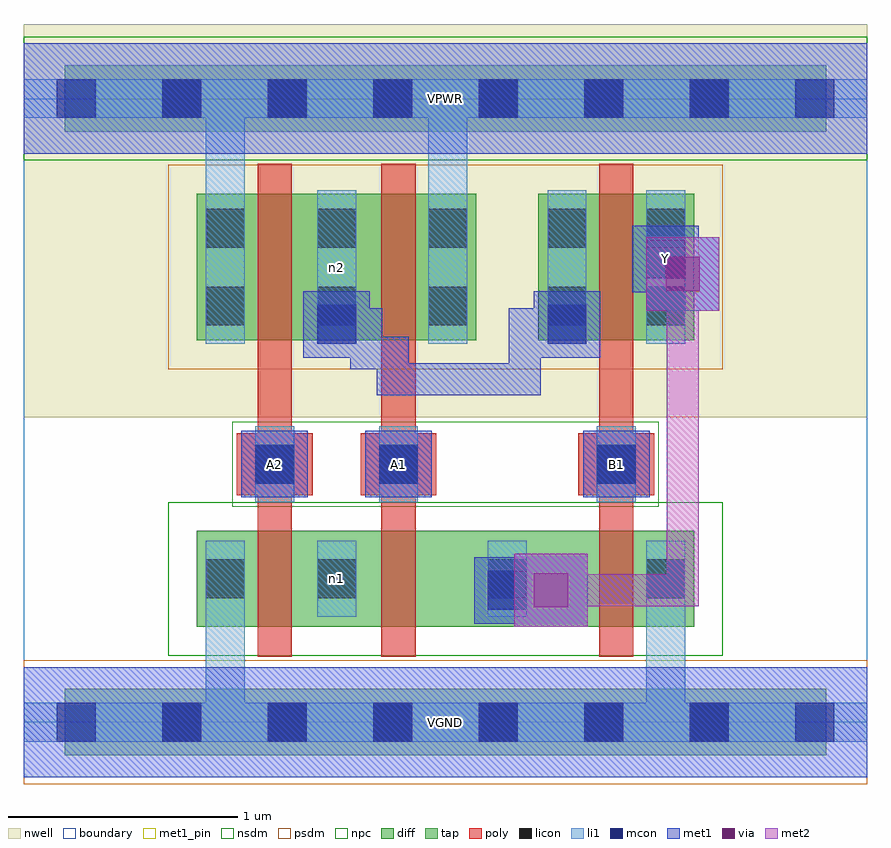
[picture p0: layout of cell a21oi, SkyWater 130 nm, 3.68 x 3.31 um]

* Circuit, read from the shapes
.subckt a21oi A1 A2 B1 VGND VPWR Y n1 n2
XM1 n1 A2 VGND VGND sky130_fd_pr__nfet_01v8 w=0.42 l=0.15
XM2 Y A1 n1 VGND sky130_fd_pr__nfet_01v8 w=0.42 l=0.15
XM3 VGND B1 Y VGND sky130_fd_pr__nfet_01v8 w=0.42 l=0.15
XM4 n2 A2 VPWR VPWR sky130_fd_pr__pfet_01v8 w=0.64 l=0.15
XM5 VPWR A1 n2 VPWR sky130_fd_pr__pfet_01v8 w=0.64 l=0.15
XM6 Y B1 n2 VPWR sky130_fd_pr__pfet_01v8 w=0.64 l=0.15
.ends

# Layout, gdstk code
import gdstk
lib = gdstk.Library(unit=1e-6, precision=1e-09)
def R(c, l, rs):  # rectangles x0, y0, x1, y1
    for r in rs: c.add(gdstk.rectangle(r[:2], r[2:], *l))
def A(c, l, x, y, w, h, nx, ny, dx, dy):  # array of equal rectangles
    R(c, l, [(x+i*dx, y+j*dy, x+i*dx+w, y+j*dy+h) for i in range(nx) for j in range(ny)])
nwell = (64, 20)
diff = (65, 20)
tap = (65, 44)
poly = (66, 20)
licon = (66, 44)
li1 = (67, 20)
mcon = (67, 44)
met1_pin = (68, 16)
met1 = (68, 20)
via = (68, 44)
met2 = (69, 20)
nsdm = (93, 44)
psdm = (94, 20)
npc = (95, 20)
boundary = (235, 4)

a21oi = lib.new_cell('a21oi')
R(a21oi, nwell, [(0,1.33,3.68,3.045)])
R(a21oi, diff, [(0.755,0.415,2.925,0.835), (0.755,1.665,1.975,2.305), (2.245,1.665,2.925,2.305)])
R(a21oi, tap, [(0.18,-0.145,3.5,0.145), (0.18,2.575,3.5,2.865)])
R(a21oi, poly, [(1.02,0.285,1.17,2.435), (1.56,0.285,1.71,2.435), (2.51,0.285,2.66,2.435), (0.93,0.99,1.26,1.26), (1.47,0.99,1.8,1.26), (2.42,0.99,2.75,1.26)])
A(a21oi, licon, 0.605, -0.085, 0.17, 0.17, 6, 2, 0.46, 2.72)
A(a21oi, licon, 0.795, 1.73, 0.17, 0.17, 3, 2, 0.485, 0.34)
R(a21oi, licon, [(0.795,0.54,0.965,0.71), (1.28,0.54,1.45,0.71), (2.025,0.54,2.195,0.71), (2.715,0.54,2.885,0.71), (1.01,1.04,1.18,1.21), (1.55,1.04,1.72,1.21), (2.5,1.04,2.67,1.21), (2.285,1.73,2.455,1.9), (2.715,1.73,2.885,1.9), (2.285,2.07,2.455,2.24), (2.715,2.07,2.885,2.24)])
A(a21oi, li1, 0.795, 1.65, 0.17, 0.67, 3, 1, 0.485, 0)
R(a21oi, li1, [(0,-0.085,3.68,0.085), (0.795,-0.085,0.965,0.79), (2.715,-0.085,2.885,0.79), (0.795,0.46,0.965,0.79), (1.28,0.46,1.45,0.79), (2.025,0.46,2.195,0.79), (2.715,0.46,2.885,0.79), (1.01,0.96,1.18,1.29), (1.55,0.96,1.72,1.29), (2.5,0.96,2.67,1.29), (0.795,1.65,0.965,2.805), (1.765,1.65,1.935,2.805), (2.285,1.65,2.455,2.32), (2.715,1.65,2.885,2.32), (0,2.635,3.68,2.805)])
A(a21oi, mcon, 0.145, -0.085, 0.17, 0.17, 8, 2, 0.46, 2.72)
R(a21oi, mcon, [(2.025,0.49,2.195,0.66), (1.01,1.04,1.18,1.21), (1.55,1.04,1.72,1.21), (2.5,1.04,2.67,1.21), (1.28,1.65,1.45,1.82), (2.285,1.65,2.455,1.82), (2.715,1.935,2.885,2.105)])
R(a21oi, met1_pin, [(0,-0.24,3.68,0.24), (0.95,0.98,1.24,1.27), (1.49,0.98,1.78,1.27), (2.44,0.98,2.73,1.27), (2.655,1.875,2.945,2.165), (0,2.48,3.68,2.96)])
R(a21oi, met1, [(0,-0.24,3.68,0.24), (2.14,0.415,2.46,0.735), (1.965,0.43,2.255,0.72), (2.04,0.505,2.37,0.645), (0.95,0.98,1.24,1.27), (1.49,0.98,1.78,1.27), (2.44,0.98,2.73,1.27), (1.54,1.425,1.68,1.68), (1.54,1.425,2.255,1.565), (2.115,1.425,2.255,1.68), (1.425,1.54,1.565,1.805), (1.425,1.54,1.68,1.68), (2.115,1.54,2.255,1.805), (1.22,1.59,1.51,1.88), (2.225,1.59,2.515,1.88), (1.295,1.665,1.565,1.805), (2.115,1.665,2.44,1.805), (2.715,1.795,3.035,2.115), (2.655,1.875,2.945,2.165), (2.805,1.885,2.945,2.025), (0,2.48,3.68,2.96)])
R(a21oi, via, [(2.225,0.5,2.375,0.65), (2.8,1.88,2.95,2.03)])
R(a21oi, met2, [(2.14,0.415,2.46,0.735), (2.23,0.505,2.945,0.645), (2.805,0.505,2.945,2.025), (2.715,1.795,3.035,2.115)])
R(a21oi, nsdm, [(0.63,0.29,3.05,0.96), (0,2.45,3.68,2.99)])
R(a21oi, psdm, [(0,-0.27,3.68,0.27), (0.63,1.54,3.05,2.43)])
R(a21oi, npc, [(0.91,0.94,2.77,1.31)])
R(a21oi, boundary, [(0,0,3.68,2.72)])
a21oi.add(gdstk.Label('n1', (1.365,0.625), layer=67, texttype=5))
a21oi.add(gdstk.Label('n2', (1.365,1.985), layer=67, texttype=5))
a21oi.add(gdstk.Label('A1', (1.635,1.125), layer=68, texttype=5))
a21oi.add(gdstk.Label('A2', (1.095,1.125), layer=68, texttype=5))
a21oi.add(gdstk.Label('B1', (2.585,1.125), layer=68, texttype=5))
a21oi.add(gdstk.Label('Y', (2.8,2.02), layer=68, texttype=5))
a21oi.add(gdstk.Label('VPWR', (1.84,2.72), layer=68, texttype=5))
a21oi.add(gdstk.Label('VGND', (1.84,0), layer=68, texttype=5))
a21oi.add(gdstk.Label('A1', (1.635,1.125), layer=68, texttype=16))
a21oi.add(gdstk.Label('A2', (1.095,1.125), layer=68, texttype=16))
a21oi.add(gdstk.Label('B1', (2.585,1.125), layer=68, texttype=16))
a21oi.add(gdstk.Label('Y', (2.8,2.02), layer=68, texttype=16))
a21oi.add(gdstk.Label('VPWR', (1.84,2.72), layer=68, texttype=16))
a21oi.add(gdstk.Label('VGND', (1.84,0), layer=68, texttype=16))

lib.write_gds('a21oi.gds')
